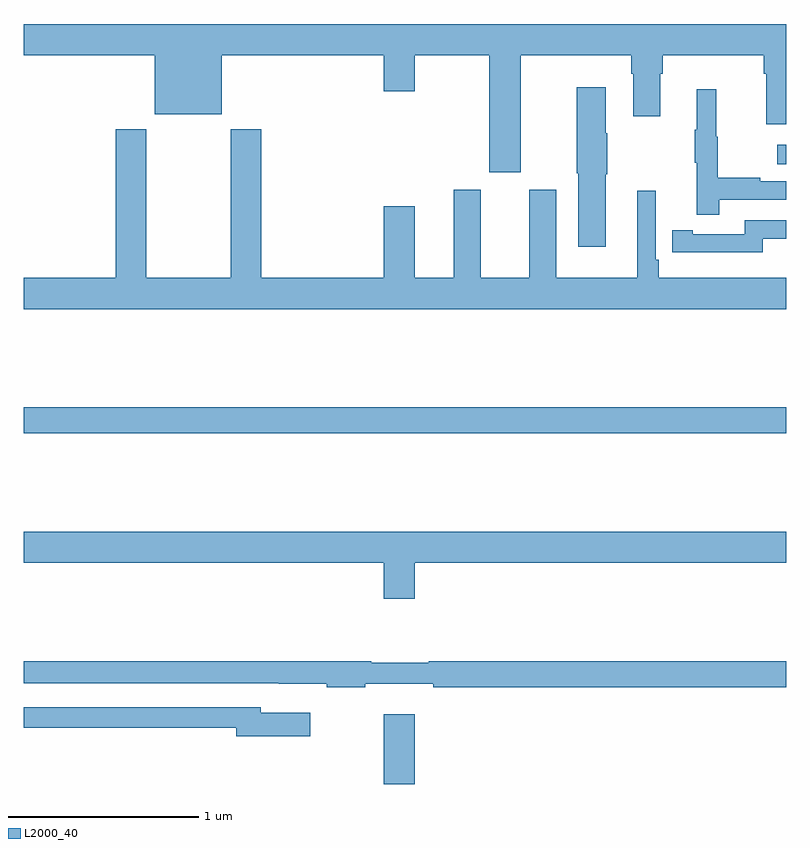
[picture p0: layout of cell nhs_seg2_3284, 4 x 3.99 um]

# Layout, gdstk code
import gdstk
lib = gdstk.Library(unit=1e-6, precision=1e-09)
def R(c, l, rs):  # rectangles x0, y0, x1, y1
    for r in rs: c.add(gdstk.rectangle(r[:2], r[2:], *l))
def P(c, l, *ps):  # polygons
    for p in ps: c.add(gdstk.Polygon(p, *l))
L2000_40 = (2000, 40)

nhs_seg2_3284 = lib.new_cell('nhs_seg2_3284')
R(nhs_seg2_3284, L2000_40, [(284.888,655.8,285.052,656.167), (283,657.64,287,657.776), (286.953,659.051,287,659.155)])
P(nhs_seg2_3284, L2000_40, [(285.607,659.624),(286.187,659.624),(286.187,659.528),(286.199,659.528),(286.199,659.304),(286.339,659.304),(286.339,659.528),(286.352,659.528),(286.352,659.624),(286.883,659.624),(286.883,659.528),(286.895,659.528),(286.895,659.262),(287,659.262),(287,659.788),(283,659.788),(283,659.624),(283.688,659.624),(283.688,659.315),(284.038,659.315),(284.038,659.624),(284.888,659.624),(284.888,659.436),(285.052,659.436),(285.052,659.624),(285.443,659.624),(285.443,659.01),(285.607,659.01)],
  [(286.054,658.999),(286.062,658.999),(286.062,659.216),(286.054,659.216),(286.054,659.455),(285.901,659.455),(285.901,659.005),(285.908,659.005),(285.908,658.62),(286.054,658.62)],
  [(286.649,658.866),(287,658.866),(287,658.962),(286.865,658.962),(286.865,658.982),(286.642,658.982),(286.642,659.196),(286.634,659.196),(286.634,659.446),(286.532,659.446),(286.532,659.233),(286.521,659.233),(286.521,659.059),(286.532,659.059),(286.532,658.788),(286.649,658.788)],
  [(287,658.456),(286.331,658.456),(286.331,658.552),(286.317,658.552),(286.317,658.912),(286.22,658.912),(286.22,658.456),(285.793,658.456),(285.793,658.918),(285.653,658.918),(285.653,658.456),(285.397,658.456),(285.397,658.918),(285.257,658.918),(285.257,658.456),(285.052,658.456),(285.052,658.831),(284.888,658.831),(284.888,658.456),(284.246,658.456),(284.246,659.236),(284.086,659.236),(284.086,658.456),(283.641,658.456),(283.641,659.236),(283.481,659.236),(283.481,658.456),(283,658.456),(283,658.292),(287,658.292)],
  [(286.878,658.662),(287,658.662),(287,658.758),(286.782,658.758),(286.782,658.686),(286.51,658.686),(286.51,658.706),(286.402,658.706),(286.402,658.59),(286.51,658.59),(286.51,658.589),(286.878,658.589)],
  [(285.052,656.96),(287,656.96),(287,657.124),(283,657.124),(283,656.96),(284.888,656.96),(284.888,656.772),(285.052,656.772)],
  [(284.792,656.327),(285.148,656.327),(285.148,656.308),(287,656.308),(287,656.444),(285.124,656.444),(285.124,656.437),(284.824,656.437),(284.824,656.444),(283,656.444),(283,656.328),(284.338,656.328),(284.338,656.327),(284.59,656.327),(284.59,656.308),(284.792,656.308)],
  [(284.503,656.173),(284.242,656.173),(284.242,656.202),(283,656.202),(283,656.094),(284.114,656.094),(284.114,656.051),(284.503,656.051)])

lib.write_gds('nhs_seg2_3284.gds')
